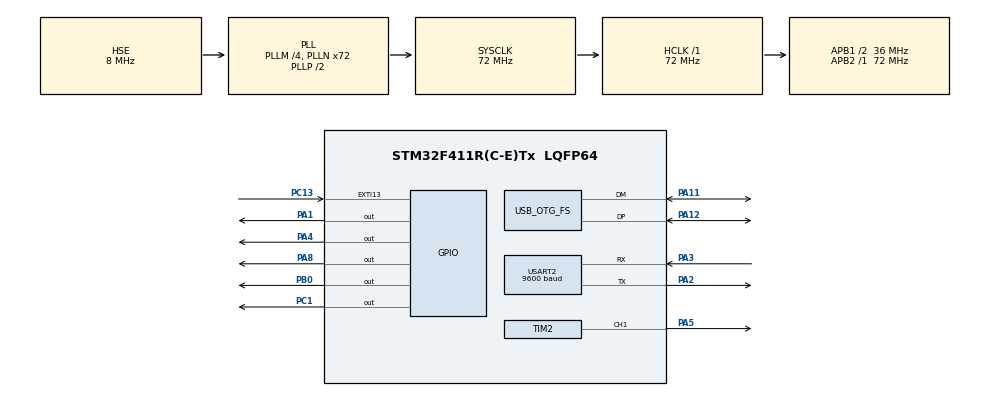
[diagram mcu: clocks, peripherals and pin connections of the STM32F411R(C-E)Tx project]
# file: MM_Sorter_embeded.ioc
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Dma.Request0=USART2_RX
Dma.Request1=USART2_TX
Dma.USART2_RX.0.Direction=DMA_PERIPH_TO_MEMORY
Dma.USART2_RX.0.FIFOMode=DMA_FIFOMODE_DISABLE
Dma.USART2_RX.0.Instance=DMA1_Stream5
Dma.USART2_RX.0.MemDataAlignment=DMA_MDATAALIGN_BYTE
Dma.USART2_RX.0.MemInc=DMA_MINC_ENABLE
Dma.USART2_RX.0.Mode=DMA_CIRCULAR
Dma.USART2_RX.0.PeriphDataAlignment=DMA_PDATAALIGN_BYTE
Dma.USART2_RX.0.PeriphInc=DMA_PINC_DISABLE
Dma.USART2_RX.0.Priority=DMA_PRIORITY_VERY_HIGH
Dma.USART2_TX.1.Direction=DMA_MEMORY_TO_PERIPH
Dma.USART2_TX.1.FIFOMode=DMA_FIFOMODE_DISABLE
Dma.USART2_TX.1.Instance=DMA1_Stream6
Dma.USART2_TX.1.MemDataAlignment=DMA_MDATAALIGN_BYTE
Dma.USART2_TX.1.MemInc=DMA_MINC_ENABLE
Dma.USART2_TX.1.Mode=DMA_NORMAL
Dma.USART2_TX.1.PeriphDataAlignment=DMA_PDATAALIGN_BYTE
Dma.USART2_TX.1.PeriphInc=DMA_PINC_DISABLE
Dma.USART2_TX.1.Priority=DMA_PRIORITY_VERY_HIGH
FREERTOS.Tasks01=defaultTask,24,128,StartDefaultTask,Default,NULL,Dynamic,NULL,NULL;step_motor,24,256,step_motor_task,As weak,NULL,Dynamic,NULL,NULL;servo_motor,8,128,servo_motor_task,As weak,NULL,Dynamic,NULL,NULL
Mcu.Family=STM32F4
Mcu.Name=STM32F411R(C-E)Tx
Mcu.Package=LQFP64
NVIC.DMA1_Stream5_IRQn=true\:5\:0\:false\:false\:true\:true\:false\:true\:true
NVIC.DMA1_Stream6_IRQn=true\:5\:0\:false\:false\:true\:true\:false\:true\:true
NVIC.EXTI15_10_IRQn=true\:5\:0\:false\:false\:true\:true\:true\:true\:true
NVIC.OTG_FS_IRQn=true\:5\:0\:false\:false\:true\:true\:false\:true\:true
NVIC.PriorityGroup=NVIC_PRIORITYGROUP_4
NVIC.TIM1_TRG_COM_TIM11_IRQn=true\:5\:0\:false\:false\:true\:true\:true\:true\:true
NVIC.TIM1_UP_TIM10_IRQn=true\:15\:0\:false\:false\:true\:false\:false\:true\:true
NVIC.TimeBase=TIM1_UP_TIM10_IRQn
NVIC.TimeBaseIP=TIM10
NVIC.USART2_IRQn=true\:5\:0\:false\:false\:true\:true\:true\:true\:true
PA1.GPIO_Speed=GPIO_SPEED_FREQ_VERY_HIGH
PA1.Signal=GPIO_Output
PA11.Mode=Device_Only
PA11.Signal=USB_OTG_FS_DM
PA12.Mode=Device_Only
PA12.Signal=USB_OTG_FS_DP
PA13.Mode=Serial_Wire
PA13.Signal=SYS_JTMS-SWDIO
PA14.Mode=Serial_Wire
PA14.Signal=SYS_JTCK-SWCLK
PA2.Mode=Asynchronous
PA2.Signal=USART2_TX
PA3.Mode=Asynchronous
PA3.Signal=USART2_RX
PA4.GPIO_Speed=GPIO_SPEED_FREQ_VERY_HIGH
PA4.Signal=GPIO_Output
PA5.Signal=S_TIM2_CH1_ETR
PA8.GPIO_Speed=GPIO_SPEED_FREQ_VERY_HIGH
PA8.PinState=GPIO_PIN_RESET
PA8.Signal=GPIO_Output
PB0.GPIO_Speed=GPIO_SPEED_FREQ_VERY_HIGH
PB0.Signal=GPIO_Output
PC1.GPIO_Speed=GPIO_SPEED_FREQ_VERY_HIGH
PC1.Signal=GPIO_Output
PC13-ANTI_TAMP.GPIO_ModeDefaultEXTI=GPIO_MODE_IT_RISING
PC13-ANTI_TAMP.GPIO_PuPd=GPIO_PULLDOWN
PC13-ANTI_TAMP.Signal=GPXTI13
PH0\ -\ OSC_IN.Mode=HSE-External-Clock-Source
PH0\ -\ OSC_IN.Signal=RCC_OSC_IN
PH1\ -\ OSC_OUT.Mode=HSE-External-Clock-Source
PH1\ -\ OSC_OUT.Signal=RCC_OSC_OUT
ProjectManager.HeapSize=0x200
ProjectManager.StackSize=0x400
ProjectManager.TargetToolchain=STM32CubeIDE
RCC.48MHZClocksFreq_Value=48000000
RCC.AHBFreq_Value=72000000
RCC.APB1CLKDivider=RCC_HCLK_DIV2
RCC.APB1Freq_Value=36000000
RCC.APB1TimFreq_Value=72000000
RCC.APB2Freq_Value=72000000
RCC.APB2TimFreq_Value=72000000
RCC.CortexFreq_Value=72000000
RCC.HCLKFreq_Value=72000000
RCC.HSE_VALUE=8000000
RCC.HSI_VALUE=16000000
RCC.LSE_VALUE=32768
RCC.PLLM=4
RCC.PLLN=72
RCC.PLLQ=3
RCC.SYSCLKFreq_VALUE=72000000
RCC.SYSCLKSource=RCC_SYSCLKSOURCE_PLLCLK
RCC.VCOOutputFreq_Value=144000000
SH.S_TIM2_CH1_ETR.0=TIM2_CH1,PWM Generation1 CH1
TIM11.AutoReloadPreload=TIM_AUTORELOAD_PRELOAD_ENABLE
TIM11.Period=30000-1
TIM11.Prescaler=1000
TIM2.AutoReloadPreload=TIM_AUTORELOAD_PRELOAD_ENABLE
TIM2.Channel-PWM\ Generation1\ CH1=TIM_CHANNEL_1
TIM2.OCMode_PWM-PWM\ Generation1\ CH1=TIM_OCMODE_PWM1
TIM2.Period=2000-1
TIM2.Prescaler=720-1
TIM4.Prescaler=1440-1
USART2.BaudRate=9600
USART2.VirtualMode=VM_ASYNC
USB_DEVICE.CLASS_NAME_FS=CDC
USB_DEVICE.VirtualMode=Cdc
USB_DEVICE.VirtualModeFS=Cdc_FS
USB_OTG_FS.VirtualMode=Device_Only
VP_FREERTOS_VS_CMSIS_V2.Mode=CMSIS_V2
VP_SYS_VS_tim10.Mode=TIM10
VP_TIM11_VS_ClockSourceINT.Mode=Enable_Timer
VP_TIM2_VS_ClockSourceINT.Mode=Internal
VP_TIM4_VS_ClockSourceINT.Mode=Internal
VP_USB_DEVICE_VS_USB_DEVICE_CDC_FS.Mode=CDC_FS
board=custom

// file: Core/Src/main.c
/* USER CODE BEGIN Header */
/**
  ******************************************************************************
  * @file           : main.c
  * @brief          : Main program body
  ******************************************************************************
  * @attention
  *
  * Copyright (c) 2023 STMicroelectronics.
  * All rights reserved.
  *
  * This software is licensed under terms that can be found in the LICENSE file
  * in the root directory of this software component.
  * If no LICENSE file comes with this software, it is provided AS-IS.
  *
  ******************************************************************************
  */
/* USER CODE END Header */
#include "main.h"
#include "cmsis_os.h"
#include "dma.h"
#include "tim.h"
#include "usart.h"
#include "usb_device.h"
#include "gpio.h"

/* USER CODE BEGIN Includes */
#include "step_motor.h"
#include "servo_motor.h"
void step_motor_task(void *argument);
void servo_motor_task(void *argument);
/* USER CODE END Includes */

/* USER CODE BEGIN PD */
uint8_t rx_data[8];
int16_t tim_step_speed = 0;
extern sorter_state_t sorter_state;
/* USER CODE END PD */

void SystemClock_Config(void);
void MX_FREERTOS_Init(void);

int main(void)
{

  /* MCU Configuration--------------------------------------------------------*/

  /* Reset of all peripherals, Initializes the Flash interface and the Systick. */
  HAL_Init();

  /* Configure the system clock */
  SystemClock_Config();

  /* Initialize all configured peripherals */
  MX_GPIO_Init();
  MX_DMA_Init();
  MX_TIM11_Init();
  MX_USART2_UART_Init();
  MX_TIM4_Init();
  MX_TIM2_Init();
  /* USER CODE BEGIN 2 */
  HAL_UART_Receive_DMA(&huart2,rx_data,sizeof(rx_data));

  /* USER CODE END 2 */

  /* Init scheduler */
  osKernelInitialize();  /* Call init function for freertos objects (in freertos.c) */
  MX_FREERTOS_Init();

  /* Start scheduler */
  osKernelStart();

  /* We should never get here as control is now taken by the scheduler */
  /* Infinite loop */
  while (1)
  {

  }
}

void SystemClock_Config(void)
{
  RCC_OscInitTypeDef RCC_OscInitStruct = {0};
  RCC_ClkInitTypeDef RCC_ClkInitStruct = {0};

  /** Configure the main internal regulator output voltage
  */
  __HAL_RCC_PWR_CLK_ENABLE();
  __HAL_PWR_VOLTAGESCALING_CONFIG(PWR_REGULATOR_VOLTAGE_SCALE1);

  /** Initializes the RCC Oscillators according to the specified parameters
  * in the RCC_OscInitTypeDef structure.
  */
  RCC_OscInitStruct.OscillatorType = RCC_OSCILLATORTYPE_HSE;
  RCC_OscInitStruct.HSEState = RCC_HSE_BYPASS;
  RCC_OscInitStruct.PLL.PLLState = RCC_PLL_ON;
  RCC_OscInitStruct.PLL.PLLSource = RCC_PLLSOURCE_HSE;
  RCC_OscInitStruct.PLL.PLLM = 4;
  RCC_OscInitStruct.PLL.PLLN = 72;
  RCC_OscInitStruct.PLL.PLLP = RCC_PLLP_DIV2;
  RCC_OscInitStruct.PLL.PLLQ = 3;
  if (HAL_RCC_OscConfig(&RCC_OscInitStruct) != HAL_OK)
  {
    Error_Handler();
  }

  /** Initializes the CPU, AHB and APB buses clocks
  */
  RCC_ClkInitStruct.ClockType = RCC_CLOCKTYPE_HCLK|RCC_CLOCKTYPE_SYSCLK
                              |RCC_CLOCKTYPE_PCLK1|RCC_CLOCKTYPE_PCLK2;
  RCC_ClkInitStruct.SYSCLKSource = RCC_SYSCLKSOURCE_PLLCLK;
  RCC_ClkInitStruct.AHBCLKDivider = RCC_SYSCLK_DIV1;
  RCC_ClkInitStruct.APB1CLKDivider = RCC_HCLK_DIV2;
  RCC_ClkInitStruct.APB2CLKDivider = RCC_HCLK_DIV1;

  if (HAL_RCC_ClockConfig(&RCC_ClkInitStruct, FLASH_LATENCY_2) != HAL_OK)
  {
    Error_Handler();
  }
}

void HAL_TIM_PeriodElapsedCallback(TIM_HandleTypeDef *htim)
{
  if (htim->Instance == TIM10) {
    HAL_IncTick();
  }
  /* USER CODE BEGIN Callback 1 */
  else if(htim->Instance == TIM11)
  		{
  			static uint16_t step = 0;
  			if(tim_step_speed != 0)
  			{
  				if(tim_step_speed > 0)
  				{
  					step++;
  				}
  				else
  				{
  					step--;
  				}
			step = step % 8;
  				 switch(step)
  				   {
  				   case 0 :
  					   HAL_GPIO_WritePin(GPIOC, GPIO_PIN_1, GPIO_PIN_RESET);//reset D
  					   break;

  				   case 1:
  					   HAL_GPIO_WritePin(GPIOA, GPIO_PIN_4, GPIO_PIN_SET);//AB (set B)
  				      break;

  				   case 2 :
  					   HAL_GPIO_WritePin(GPIOA, GPIO_PIN_1, GPIO_PIN_RESET);//B (reset A)
  					   break;

  				   case 3:
  					   HAL_GPIO_WritePin(GPIOB, GPIO_PIN_0, GPIO_PIN_SET);//BC (set C)
  					   break;

  				   case 4 :
  					   HAL_GPIO_WritePin(GPIOA, GPIO_PIN_4, GPIO_PIN_RESET);//C (reset B)
  				   	   break;

  				   case 5:
  				   	   HAL_GPIO_WritePin(GPIOC, GPIO_PIN_1, GPIO_PIN_SET);//CD (set D)
  				   	   break;

  				   case 6 :
  				   	   HAL_GPIO_WritePin(GPIOB, GPIO_PIN_0, GPIO_PIN_RESET);//D (reset C)
  				   	   break;

  				   case 7:
  				   	   HAL_GPIO_WritePin(GPIOA, GPIO_PIN_1, GPIO_PIN_SET);//DA
  				   	   break;
  				   default:
  					   break;
  				   }
  			}

  	}
  else if(htim->Instance == TIM4)
  {
	  sorter_state.sorting_mode = PICK_SUGER;
  }
  /* USER CODE END Callback 1 */
}

void Error_Handler(void)
{
  __disable_irq();
  while (1)
  {
  }
}

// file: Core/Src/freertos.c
/* USER CODE BEGIN Header */
/**
  ******************************************************************************
  * File Name          : freertos.c
  * Description        : Code for freertos applications
  ******************************************************************************
  * @attention
  *
  * Copyright (c) 2023 STMicroelectronics.
  * All rights reserved.
  *
  * This software is licensed under terms that can be found in the LICENSE file
  * in the root directory of this software component.
  * If no LICENSE file comes with this software, it is provided AS-IS.
  *
  ******************************************************************************
  */
/* USER CODE END Header */

#include "FreeRTOS.h"
#include "task.h"
#include "main.h"
#include "cmsis_os.h"

/* USER CODE BEGIN Includes */
#include "step_motor.h"
/* USER CODE END Includes */

/* Definitions for defaultTask */
osThreadId_t defaultTaskHandle;
const osThreadAttr_t defaultTask_attributes = {
  .name = "defaultTask",
  .stack_size = 128 * 4,
  .priority = (osPriority_t) osPriorityNormal,
};
/* Definitions for step_motor */
osThreadId_t step_motorHandle;
const osThreadAttr_t step_motor_attributes = {
  .name = "step_motor",
  .stack_size = 256 * 4,
  .priority = (osPriority_t) osPriorityNormal,
};
/* Definitions for servo_motor */
osThreadId_t servo_motorHandle;
const osThreadAttr_t servo_motor_attributes = {
  .name = "servo_motor",
  .stack_size = 128 * 4,
  .priority = (osPriority_t) osPriorityLow,
};

void StartDefaultTask(void *argument);
void step_motor_task(void *argument);
void servo_motor_task(void *argument);

extern void MX_USB_DEVICE_Init(void);
void MX_FREERTOS_Init(void); /* (MISRA C 2004 rule 8.1) */

void MX_FREERTOS_Init(void) {

  /* Create the thread(s) */
  /* creation of defaultTask */
  defaultTaskHandle = osThreadNew(StartDefaultTask, NULL, &defaultTask_attributes);

  /* creation of step_motor */
  step_motorHandle = osThreadNew(step_motor_task, NULL, &step_motor_attributes);

  /* creation of servo_motor */
  servo_motorHandle = osThreadNew(servo_motor_task, NULL, &servo_motor_attributes);

}

void StartDefaultTask(void *argument)
{
  /* init code for USB_DEVICE */
  MX_USB_DEVICE_Init();
  for(;;)
  {
    osDelay(1);
  }
}

__weak void step_motor_task(void *argument)
{
  for(;;)
  {
    osDelay(1);
  }
}

__weak void servo_motor_task(void *argument)
{
  for(;;)
  {
    osDelay(1);
  }
}
